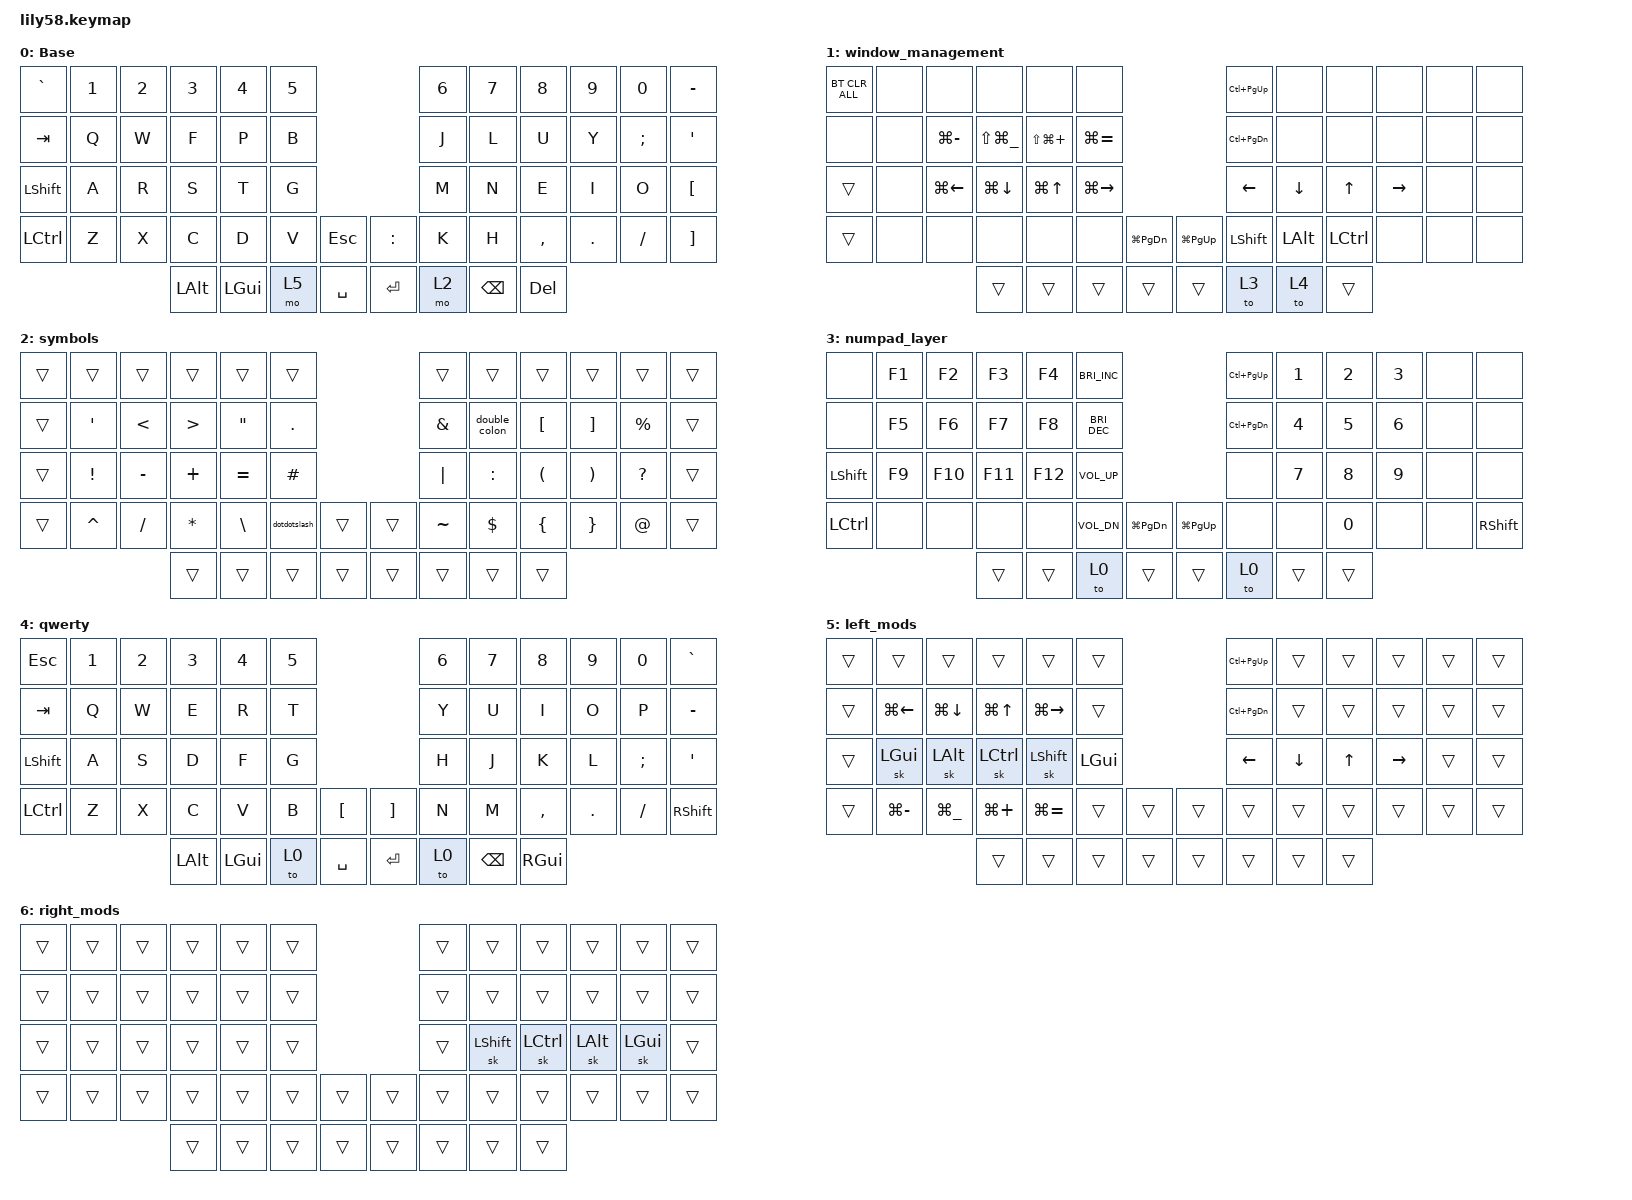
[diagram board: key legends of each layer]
/*
 * Copyright (c) 2020 The ZMK Contributors
 *
 * SPDX-License-Identifier: MIT
 */

#include <behaviors.dtsi>
#include <dt-bindings/zmk/bt.h>
#include <dt-bindings/zmk/keys.h>

/ {
    combos { compatible = "zmk,combos"; };

    macros {
        double_colon: double_colon {
            compatible = "zmk,behavior-macro";
            #binding-cells = <0>;
            bindings = <&kp COLON &kp COLON>;
            label = "DOUBLE_COLON";
        };

        dotdotslash: dotdotslash {
            compatible = "zmk,behavior-macro";
            #binding-cells = <0>;
            bindings = <&kp DOT &kp DOT &kp FSLH>;
            label = "DOTDOTSLASH";
        };
    };

    keymap {
        compatible = "zmk,keymap";

        colemak_layer {
            // ------------------------------------------------------------------------------------------------------------
            // |  ESC  |  1  |  2  |  3   |  4   |  5   |                   |  6   |  7    |  8    |  9   |   0   |   `   |
            // |  TAB  |  Q  |  W  |  F   |  P   |  G   |                   |  J   |  L    |  U    |  Y   |   ;   |   -   |
            // |  CTRL |  A  |  R  |  S   |  T   |  D   |                   |  H   |  N    |  E    |  I   |   O   |   [   |
            // | SHIFT |  Z  |  X  |  C   |  V   |  B   |   ESC  |   COLON  |  K   |  M    |  ,    |  .   |   /   |   ]   |
            //                     | ALT  | GUI  | LOWER|  SPACE |  | ENTER | RAISE| BSPC  | GUI   |

            display-name = "Base";
            bindings = <
&kp GRAVE  &kp N1  &kp N2  &kp N3    &kp N4    &kp N5                          &kp N6  &kp N7    &kp N8      &kp N9   &kp N0         &kp MINUS
&kp TAB    &kp Q   &kp W   &kp F     &kp P     &kp B                           &kp J   &kp L     &kp U       &kp Y    &kp SEMICOLON  &kp APOSTROPHE
&kp LSHFT  &kp A   &kp R   &kp S     &kp T     &kp G                           &kp M   &kp N     &kp E       &kp I    &kp O          &kp LEFT_BRACKET
&kp LCTRL  &kp Z   &kp X   &kp C     &kp D     &kp V   &kp ESC      &kp COLON  &kp K   &kp H     &kp COMMA   &kp DOT  &kp FSLH       &kp RIGHT_BRACKET
                           &kp LALT  &kp LGUI  &mo 5   &kp SPACE    &kp RET    &mo 2   &kp BSPC  &kp DELETE
            >;
        };

        window_management {
            bindings = <
&bt BT_CLR_ALL  &none  &none          &none              &none             &none                                              &kp LC(PG_UP)      &none         &none             &none      &none  &none
&none           &none  &kp LG(MINUS)  &kp LS(LG(UNDER))  &kp LS(LG(PLUS))  &kp LG(EQUAL)                                      &kp LC(PAGE_DOWN)  &none         &none             &none      &none  &none
&trans          &none  &kp LG(LEFT)   &kp LG(DOWN)       &kp LG(UP_ARROW)  &kp LG(RIGHT)                                      &kp LEFT           &kp DOWN      &kp UP            &kp RIGHT  &none  &none
&trans          &none  &none          &none              &none             &none          &kp LG(PAGE_DOWN)    &kp LG(PG_UP)  &kp LEFT_SHIFT     &kp LEFT_ALT  &kp LEFT_CONTROL  &none      &none  &none
                                      &trans             &trans            &trans         &trans               &trans         &to 3              &to 4         &trans
            >;
        };

        symbols {
            bindings = <
&trans  &trans            &trans         &trans            &trans             &trans                          &trans         &trans         &trans                &trans                 &trans        &trans
&trans  &kp SINGLE_QUOTE  &kp LESS_THAN  &kp GREATER_THAN  &kp DOUBLE_QUOTES  &kp PERIOD                      &kp AMPERSAND  &double_colon  &kp LEFT_BRACKET      &kp RIGHT_BRACKET      &kp PERCENT   &trans
&trans  &kp EXCLAMATION   &kp MINUS      &kp PLUS          &kp EQUAL          &kp HASH                        &kp PIPE       &kp COLON      &kp LEFT_PARENTHESIS  &kp RIGHT_PARENTHESIS  &kp QUESTION  &trans
&trans  &kp CARET         &kp SLASH      &kp ASTERISK      &kp BACKSLASH      &dotdotslash  &trans    &trans  &kp TILDE      &kp DOLLAR     &kp LEFT_BRACE        &kp RIGHT_BRACE        &kp AT_SIGN   &trans
                                         &trans            &trans             &trans        &trans    &trans  &trans         &trans         &trans
            >;
        };

        numpad_layer {
            bindings = <
&none      &kp F1  &kp F2   &kp F3   &kp F4   &kp C_BRIGHTNESS_INC                                      &kp LC(PAGE_UP)    &kp NUMBER_1  &kp NUMBER_2  &kp NUMBER_3  &none  &none
&none      &kp F5  &kp F6   &kp F7   &kp F8   &kp C_BRIGHTNESS_DEC                                      &kp LC(PAGE_DOWN)  &kp NUMBER_4  &kp NUMBER_5  &kp NUMBER_6  &none  &none
&kp LSHFT  &kp F9  &kp F10  &kp F11  &kp F12  &kp C_VOLUME_UP                                           &none              &kp NUMBER_7  &kp N8        &kp NUMBER_9  &none  &none
&kp LCTRL  &none   &none    &none    &none    &kp C_VOL_DN          &kp LG(PAGE_DOWN)    &kp LG(PG_UP)  &none              &none         &kp NUMBER_0  &none         &none  &kp RIGHT_SHIFT
                            &trans   &trans   &to 0                 &trans               &trans         &to 0              &trans        &trans
            >;
        };

        qwerty {
            bindings = <
&kp ESC    &kp N1  &kp N2  &kp N3    &kp N4        &kp N5                         &kp N6  &kp N7    &kp N8         &kp N9   &kp N0    &kp GRAVE
&kp TAB    &kp Q   &kp W   &kp E     &kp R         &kp T                          &kp Y   &kp U     &kp I          &kp O    &kp P     &kp MINUS
&kp LSHFT  &kp A   &kp S   &kp D     &kp F         &kp G                          &kp H   &kp J     &kp K          &kp L    &kp SEMI  &kp SQT
&kp LCTRL  &kp Z   &kp X   &kp C     &kp V         &kp B   &kp LBKT     &kp RBKT  &kp N   &kp M     &kp COMMA      &kp DOT  &kp FSLH  &kp RSHFT
                           &kp LALT  &kp LEFT_GUI  &to 0   &kp SPACE    &kp RET   &to 0   &kp BSPC  &kp RIGHT_GUI
            >;
        };

        left_mods {
            bindings = <
&trans  &trans         &trans              &trans        &trans          &trans                          &kp LC(PG_UP)  &trans    &trans    &trans      &trans     &trans
&trans  &kp LG(LEFT)   &kp LG(DOWN)        &kp LG(UP)    &kp LG(RIGHT)   &trans                          &kp LC(PG_DN)  &trans    &trans    &trans      &trans     &trans
&trans  &sk LEFT_GUI   &sk LEFT_ALT        &sk LCTRL     &sk LEFT_SHIFT  &kp LEFT_GUI                    &kp LEFT       &kp DOWN  &kp UP    &kp RIGHT   &trans     &trans
&trans  &kp LG(MINUS)  &kp LG(UNDERSCORE)  &kp LG(PLUS)  &kp LG(EQUAL)   &trans        &trans    &trans  &trans         &trans    &trans    &trans      &trans     &trans
                                           &trans        &trans          &trans        &trans    &trans  &trans         &trans    &trans
            >;
        };

        right_mods {
            bindings = <
&trans  &trans  &trans  &trans  &trans  &trans                    &trans  &trans          &trans     &trans        &trans        &trans
&trans  &trans  &trans  &trans  &trans  &trans                    &trans  &trans          &trans     &trans        &trans        &trans
&trans  &trans  &trans  &trans  &trans  &trans                    &trans  &sk LEFT_SHIFT  &sk LCTRL  &sk LEFT_ALT  &sk LEFT_GUI  &trans
&trans  &trans  &trans  &trans  &trans  &trans  &trans    &trans  &trans  &trans          &trans     &trans        &trans        &trans
                        &trans  &trans  &trans  &trans    &trans  &trans  &trans          &trans
            >;
        };
    };
};
